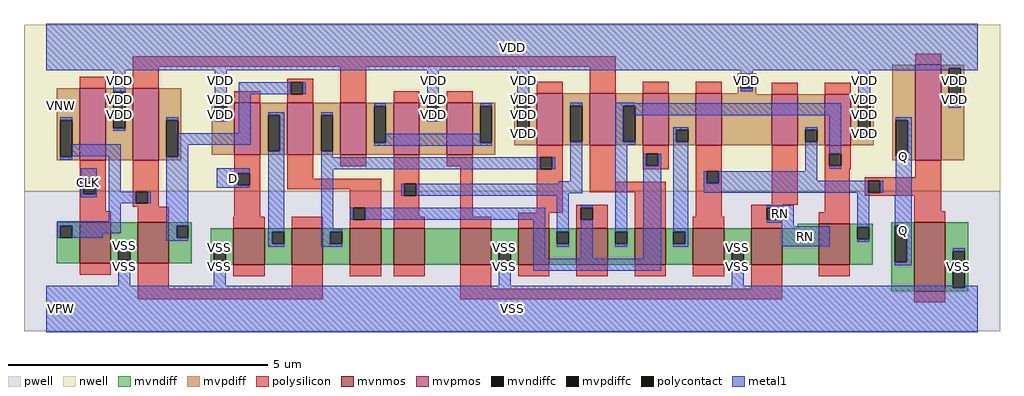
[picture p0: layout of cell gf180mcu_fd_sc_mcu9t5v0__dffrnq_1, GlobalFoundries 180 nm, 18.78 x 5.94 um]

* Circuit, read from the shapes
.subckt gf180mcu_fd_sc_mcu9t5v0__dffrnq_1 D RN CLK Q VDD VNW VPW VSS
XM1 VSS CLK n1 VPW nfet_06v0 w=0.79u l=0.6u
XM2 n2 n1 VSS VPW nfet_06v0 w=0.79u l=0.6u
XM3 n3 D VSS VPW nfet_06v0 w=0.7u l=0.6u
XM4 n4 n1 n3 VPW nfet_06v0 w=0.7u l=0.6u
XM5 n5 n2 n4 VPW nfet_06v0 w=0.7u l=0.6u
XM6 n6 n7 n5 VPW nfet_06v0 w=0.7u l=0.6u
XM7 VSS RN n6 VPW nfet_06v0 w=0.7u l=0.6u
XM8 n7 n4 VSS VPW nfet_06v0 w=0.7u l=0.6u
XM9 n8 n2 n7 VPW nfet_06v0 w=0.7u l=0.6u
XM10 n9 n1 n8 VPW nfet_06v0 w=0.7u l=0.6u
XM11 VSS n10 n9 VPW nfet_06v0 w=0.7u l=0.6u
XM12 n11 RN VSS VPW nfet_06v0 w=0.7u l=0.6u
XM13 n10 n8 n11 VPW nfet_06v0 w=0.79u l=0.6u
XM14 VSS n10 Q VPW nfet_06v0 w=1.32u l=0.6u
XM15 VDD CLK n1 VNW pfet_06v0 w=1.38u l=0.5u
XM16 n2 n1 VDD VNW pfet_06v0 w=1.38u l=0.5u
XM17 n3 D VDD VNW pfet_06v0 w=1u l=0.5u
XM18 n4 n2 n3 VNW pfet_06v0 w=1u l=0.5u
XM19 n12 n1 n4 VNW pfet_06v0 w=1u l=0.5u
XM20 VDD n7 n12 VNW pfet_06v0 w=1u l=0.5u
XM21 n12 RN VDD VNW pfet_06v0 w=1u l=0.5u
XM22 n7 n4 VDD VNW pfet_06v0 w=1u l=0.5u
XM23 n8 n1 n7 VNW pfet_06v0 w=1u l=0.5u
XM24 n9 n2 n8 VNW pfet_06v0 w=1u l=0.5u
XM25 VDD n10 n9 VNW pfet_06v0 w=1u l=0.5u
XM26 n10 RN VDD VNW pfet_06v0 w=0.98u l=0.5u
XM27 VDD n8 n10 VNW pfet_06v0 w=0.98u l=0.5u
XM28 VDD n10 Q VNW pfet_06v0 w=1.83u l=0.5u
.ends

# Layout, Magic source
magic
tech gf180mcuD
magscale 1 10
<< nwell >>
rect -86 453 3670 1094
<< pwell >>
rect -86 -86 3670 453
<< mvnmos >>
rect 128 175 248 333
rect 352 175 472 333
rect 720 170 840 310
rect 944 170 1064 310
rect 1168 170 1288 310
rect 1336 170 1456 310
rect 1592 170 1712 310
rect 1816 170 1936 310
rect 2040 170 2160 310
rect 2264 170 2384 310
rect 2488 170 2608 310
rect 2712 170 2832 310
rect 2972 170 3092 328
rect 3340 69 3460 333
<< mvpmos >>
rect 128 573 228 849
rect 332 573 432 849
rect 724 593 824 793
rect 928 593 1028 793
rect 1132 593 1232 793
rect 1336 593 1436 793
rect 1540 593 1640 793
rect 1888 630 1988 830
rect 2092 630 2192 830
rect 2296 630 2396 830
rect 2500 630 2600 830
rect 2792 630 2892 826
rect 2996 630 3096 826
rect 3344 573 3444 939
<< mvndiff >>
rect 40 320 128 333
rect 40 274 53 320
rect 99 274 128 320
rect 40 175 128 274
rect 248 234 352 333
rect 248 188 277 234
rect 323 188 352 234
rect 248 175 352 188
rect 472 320 560 333
rect 472 274 501 320
rect 547 274 560 320
rect 2892 310 2972 328
rect 472 175 560 274
rect 632 229 720 310
rect 632 183 645 229
rect 691 183 720 229
rect 632 170 720 183
rect 840 297 944 310
rect 840 251 869 297
rect 915 251 944 297
rect 840 170 944 251
rect 1064 297 1168 310
rect 1064 251 1093 297
rect 1139 251 1168 297
rect 1064 170 1168 251
rect 1288 170 1336 310
rect 1456 170 1592 310
rect 1712 229 1816 310
rect 1712 183 1741 229
rect 1787 183 1816 229
rect 1712 170 1816 183
rect 1936 297 2040 310
rect 1936 251 1965 297
rect 2011 251 2040 297
rect 1936 170 2040 251
rect 2160 297 2264 310
rect 2160 251 2189 297
rect 2235 251 2264 297
rect 2160 170 2264 251
rect 2384 297 2488 310
rect 2384 251 2413 297
rect 2459 251 2488 297
rect 2384 170 2488 251
rect 2608 229 2712 310
rect 2608 183 2637 229
rect 2683 183 2712 229
rect 2608 170 2712 183
rect 2832 170 2972 310
rect 3092 315 3180 328
rect 3092 269 3121 315
rect 3167 269 3180 315
rect 3092 170 3180 269
rect 3252 320 3340 333
rect 3252 180 3265 320
rect 3311 180 3340 320
rect 3252 69 3340 180
rect 3460 222 3548 333
rect 3460 82 3489 222
rect 3535 82 3548 222
rect 3460 69 3548 82
<< mvpdiff >>
rect 40 726 128 849
rect 40 586 53 726
rect 99 586 128 726
rect 40 573 128 586
rect 228 836 332 849
rect 228 696 257 836
rect 303 696 332 836
rect 228 573 332 696
rect 432 726 520 849
rect 2660 895 2732 908
rect 2660 849 2673 895
rect 2719 849 2732 895
rect 2660 830 2732 849
rect 1800 817 1888 830
rect 432 586 461 726
rect 507 586 520 726
rect 636 780 724 793
rect 636 734 649 780
rect 695 734 724 780
rect 636 593 724 734
rect 824 746 928 793
rect 824 606 853 746
rect 899 606 928 746
rect 824 593 928 606
rect 1028 746 1132 793
rect 1028 606 1057 746
rect 1103 606 1132 746
rect 1028 593 1132 606
rect 1232 780 1336 793
rect 1232 640 1261 780
rect 1307 640 1336 780
rect 1232 593 1336 640
rect 1436 780 1540 793
rect 1436 734 1465 780
rect 1511 734 1540 780
rect 1436 593 1540 734
rect 1640 780 1728 793
rect 1640 640 1669 780
rect 1715 640 1728 780
rect 1640 593 1728 640
rect 1800 677 1813 817
rect 1859 677 1888 817
rect 1800 630 1888 677
rect 1988 783 2092 830
rect 1988 643 2017 783
rect 2063 643 2092 783
rect 1988 630 2092 643
rect 2192 783 2296 830
rect 2192 643 2221 783
rect 2267 643 2296 783
rect 2192 630 2296 643
rect 2396 689 2500 830
rect 2396 643 2425 689
rect 2471 643 2500 689
rect 2396 630 2500 643
rect 2600 826 2732 830
rect 2600 630 2792 826
rect 2892 689 2996 826
rect 2892 643 2921 689
rect 2967 643 2996 689
rect 2892 630 2996 643
rect 3096 813 3184 826
rect 3096 673 3125 813
rect 3171 673 3184 813
rect 3096 630 3184 673
rect 3256 726 3344 939
rect 432 573 520 586
rect 3256 586 3269 726
rect 3315 586 3344 726
rect 3256 573 3344 586
rect 3444 926 3532 939
rect 3444 786 3473 926
rect 3519 786 3532 926
rect 3444 573 3532 786
<< mvndiffc >>
rect 53 274 99 320
rect 277 188 323 234
rect 501 274 547 320
rect 645 183 691 229
rect 869 251 915 297
rect 1093 251 1139 297
rect 1741 183 1787 229
rect 1965 251 2011 297
rect 2189 251 2235 297
rect 2413 251 2459 297
rect 2637 183 2683 229
rect 3121 269 3167 315
rect 3265 180 3311 320
rect 3489 82 3535 222
<< mvpdiffc >>
rect 53 586 99 726
rect 257 696 303 836
rect 2673 849 2719 895
rect 461 586 507 726
rect 649 734 695 780
rect 853 606 899 746
rect 1057 606 1103 746
rect 1261 640 1307 780
rect 1465 734 1511 780
rect 1669 640 1715 780
rect 1813 677 1859 817
rect 2017 643 2063 783
rect 2221 643 2267 783
rect 2425 643 2471 689
rect 2921 643 2967 689
rect 3125 673 3171 813
rect 3269 586 3315 726
rect 3473 786 3519 926
<< polysilicon >>
rect 332 933 2192 973
rect 3344 939 3444 983
rect 128 849 228 893
rect 332 849 432 933
rect 928 872 1028 885
rect 724 793 824 837
rect 928 826 941 872
rect 987 826 1028 872
rect 928 793 1028 826
rect 1132 793 1232 933
rect 1336 793 1436 837
rect 1540 793 1640 837
rect 1888 830 1988 874
rect 2092 830 2192 933
rect 2296 830 2396 874
rect 2500 830 2600 874
rect 2792 826 2892 870
rect 2996 826 3096 870
rect 128 487 228 573
rect 128 441 142 487
rect 188 441 228 487
rect 128 377 228 441
rect 332 452 432 573
rect 332 406 345 452
rect 391 406 432 452
rect 332 393 432 406
rect 724 523 824 593
rect 724 477 737 523
rect 783 477 824 523
rect 128 333 248 377
rect 352 333 472 393
rect 724 354 824 477
rect 928 501 1028 593
rect 1132 549 1232 593
rect 928 461 1288 501
rect 1168 389 1288 461
rect 720 310 840 354
rect 944 310 1064 354
rect 1168 343 1181 389
rect 1227 343 1288 389
rect 1168 310 1288 343
rect 1336 481 1436 593
rect 1540 549 1640 593
rect 1336 435 1377 481
rect 1423 435 1436 481
rect 1336 354 1436 435
rect 1592 354 1640 549
rect 1888 583 1988 630
rect 1888 537 1901 583
rect 1947 537 1988 583
rect 1888 370 1988 537
rect 2092 490 2192 630
rect 2296 597 2396 630
rect 2296 551 2309 597
rect 2355 551 2396 597
rect 2296 538 2396 551
rect 2500 530 2600 630
rect 2092 450 2384 490
rect 2040 389 2160 402
rect 1336 310 1456 354
rect 1592 310 1712 354
rect 1816 310 1936 370
rect 2040 343 2057 389
rect 2103 343 2160 389
rect 2040 310 2160 343
rect 2264 310 2384 450
rect 2500 484 2541 530
rect 2587 484 2600 530
rect 2500 354 2600 484
rect 2792 402 2892 630
rect 2996 597 3096 630
rect 2996 551 3013 597
rect 3059 551 3096 597
rect 2996 539 3096 551
rect 2712 389 2832 402
rect 2488 310 2608 354
rect 2712 343 2773 389
rect 2819 343 2832 389
rect 2996 372 3092 539
rect 3344 507 3444 573
rect 3150 494 3444 507
rect 3150 448 3163 494
rect 3209 448 3444 494
rect 3150 435 3444 448
rect 2712 310 2832 343
rect 2972 328 3092 372
rect 3340 377 3444 435
rect 3340 333 3460 377
rect 128 131 248 175
rect 352 78 472 175
rect 720 126 840 170
rect 944 78 1064 170
rect 1168 126 1288 170
rect 1336 126 1456 170
rect 352 38 1064 78
rect 1592 78 1712 170
rect 1816 126 1936 170
rect 2040 126 2160 170
rect 2264 126 2384 170
rect 2488 126 2608 170
rect 2712 78 2832 170
rect 2972 126 3092 170
rect 1592 38 2832 78
rect 3340 25 3460 69
<< polycontact >>
rect 941 826 987 872
rect 142 441 188 487
rect 345 406 391 452
rect 737 477 783 523
rect 1181 343 1227 389
rect 1377 435 1423 481
rect 1901 537 1947 583
rect 2309 551 2355 597
rect 2057 343 2103 389
rect 2541 484 2587 530
rect 3013 551 3059 597
rect 2773 343 2819 389
rect 3163 448 3209 494
<< metal1 >>
rect 0 926 3584 1098
rect 0 918 3473 926
rect 257 836 303 918
rect 53 726 99 737
rect 649 780 695 918
rect 257 685 303 696
rect 461 726 507 737
rect 99 588 286 634
rect 53 575 99 586
rect 132 487 194 542
rect 132 441 142 487
rect 188 441 194 487
rect 132 430 194 441
rect 240 452 286 588
rect 649 723 695 734
rect 741 826 941 872
rect 987 826 998 872
rect 741 677 787 826
rect 1261 780 1307 791
rect 507 631 787 677
rect 853 746 915 757
rect 507 586 547 631
rect 240 406 345 452
rect 391 406 402 452
rect 240 337 286 406
rect 42 320 286 337
rect 42 274 53 320
rect 99 291 286 320
rect 461 320 547 586
rect 899 606 915 746
rect 656 523 783 542
rect 656 477 737 523
rect 656 466 783 477
rect 99 274 217 291
rect 461 274 501 320
rect 461 263 547 274
rect 853 297 915 606
rect 853 251 869 297
rect 277 234 323 245
rect 853 240 915 251
rect 1057 746 1103 757
rect 1465 780 1511 918
rect 1813 817 1859 918
rect 2673 895 2719 918
rect 2673 838 2719 849
rect 1465 723 1511 734
rect 1669 780 1715 791
rect 1307 640 1669 675
rect 3125 813 3171 918
rect 1813 666 1859 677
rect 2017 783 2063 794
rect 1261 629 1715 640
rect 1057 583 1103 606
rect 1057 537 1901 583
rect 1947 537 1958 583
rect 1057 308 1104 537
rect 2017 492 2063 643
rect 1971 481 2063 492
rect 1366 435 1377 481
rect 1423 446 2063 481
rect 2189 792 2267 794
rect 2189 783 3059 792
rect 2189 643 2221 783
rect 2267 746 3059 783
rect 2189 632 2267 643
rect 2413 689 2471 700
rect 2413 643 2425 689
rect 1423 435 2011 446
rect 1170 343 1181 389
rect 1227 343 1919 389
rect 1057 297 1139 308
rect 1057 251 1093 297
rect 1057 240 1139 251
rect 277 90 323 188
rect 645 229 691 240
rect 645 90 691 183
rect 1741 229 1787 240
rect 1741 90 1787 183
rect 1873 194 1919 343
rect 1965 297 2011 435
rect 1965 240 2011 251
rect 2057 389 2103 400
rect 2057 194 2103 343
rect 2189 297 2235 632
rect 2189 240 2235 251
rect 2297 551 2309 597
rect 2355 551 2366 597
rect 2297 194 2366 551
rect 2413 297 2471 643
rect 2921 689 2967 700
rect 2921 530 2967 643
rect 3013 597 3059 746
rect 3519 918 3584 926
rect 3473 775 3519 786
rect 3125 662 3171 673
rect 3269 726 3330 737
rect 3013 540 3059 551
rect 3315 586 3330 726
rect 2530 484 2541 530
rect 2587 494 2967 530
rect 2587 484 3163 494
rect 2530 448 3163 484
rect 3209 448 3220 494
rect 2773 389 2876 400
rect 2819 343 2876 389
rect 2773 332 2876 343
rect 2459 251 2471 297
rect 2413 240 2471 251
rect 2830 318 2876 332
rect 2830 242 3014 318
rect 3121 315 3167 448
rect 3269 438 3330 586
rect 3121 258 3167 269
rect 3265 320 3330 438
rect 1873 148 2366 194
rect 2637 229 2683 240
rect 2637 90 2683 183
rect 3311 180 3330 320
rect 3265 169 3330 180
rect 3489 222 3535 233
rect 0 82 3489 90
rect 3535 82 3584 90
rect 0 -90 3584 82
<< labels >>
flabel metal1 s 132 430 194 542 0 FreeSans 200 0 0 0 CLK
port 3 nsew clock input
flabel metal1 s 656 466 783 542 0 FreeSans 200 0 0 0 D
port 1 nsew default input
flabel metal1 s 3269 438 3330 737 0 FreeSans 200 0 0 0 Q
port 4 nsew default output
flabel metal1 s 2773 332 2876 400 0 FreeSans 200 0 0 0 RN
port 2 nsew default input
flabel metal1 s 0 918 3584 1098 0 FreeSans 200 0 0 0 VDD
port 5 nsew power bidirectional abutment
flabel metal1 s 277 240 323 245 0 FreeSans 200 0 0 0 VSS
port 8 nsew ground bidirectional abutment
flabel nwell s 10 734 110 834 0 FreeSans 400 0 0 0 VNW
port 6 nsew power bidirectional
flabel pwell s 10 -50 110 50 0 FreeSans 400 0 0 0 VPW
port 7 nsew ground bidirectional
rlabel metal1 s 2830 318 2876 332 1 RN
port 2 nsew default input
rlabel metal1 s 2830 242 3014 318 1 RN
port 2 nsew default input
rlabel metal1 s 3265 169 3330 438 1 Q
port 4 nsew default output
rlabel metal1 s 3473 838 3519 918 1 VDD
port 5 nsew power bidirectional abutment
rlabel metal1 s 3125 838 3171 918 1 VDD
port 5 nsew power bidirectional abutment
rlabel metal1 s 2673 838 2719 918 1 VDD
port 5 nsew power bidirectional abutment
rlabel metal1 s 1813 838 1859 918 1 VDD
port 5 nsew power bidirectional abutment
rlabel metal1 s 1465 838 1511 918 1 VDD
port 5 nsew power bidirectional abutment
rlabel metal1 s 649 838 695 918 1 VDD
port 5 nsew power bidirectional abutment
rlabel metal1 s 257 838 303 918 1 VDD
port 5 nsew power bidirectional abutment
rlabel metal1 s 3473 775 3519 838 1 VDD
port 5 nsew power bidirectional abutment
rlabel metal1 s 3125 775 3171 838 1 VDD
port 5 nsew power bidirectional abutment
rlabel metal1 s 1813 775 1859 838 1 VDD
port 5 nsew power bidirectional abutment
rlabel metal1 s 1465 775 1511 838 1 VDD
port 5 nsew power bidirectional abutment
rlabel metal1 s 649 775 695 838 1 VDD
port 5 nsew power bidirectional abutment
rlabel metal1 s 257 775 303 838 1 VDD
port 5 nsew power bidirectional abutment
rlabel metal1 s 3125 723 3171 775 1 VDD
port 5 nsew power bidirectional abutment
rlabel metal1 s 1813 723 1859 775 1 VDD
port 5 nsew power bidirectional abutment
rlabel metal1 s 1465 723 1511 775 1 VDD
port 5 nsew power bidirectional abutment
rlabel metal1 s 649 723 695 775 1 VDD
port 5 nsew power bidirectional abutment
rlabel metal1 s 257 723 303 775 1 VDD
port 5 nsew power bidirectional abutment
rlabel metal1 s 3125 685 3171 723 1 VDD
port 5 nsew power bidirectional abutment
rlabel metal1 s 1813 685 1859 723 1 VDD
port 5 nsew power bidirectional abutment
rlabel metal1 s 257 685 303 723 1 VDD
port 5 nsew power bidirectional abutment
rlabel metal1 s 3125 666 3171 685 1 VDD
port 5 nsew power bidirectional abutment
rlabel metal1 s 1813 666 1859 685 1 VDD
port 5 nsew power bidirectional abutment
rlabel metal1 s 3125 662 3171 666 1 VDD
port 5 nsew power bidirectional abutment
rlabel metal1 s 2637 233 2683 240 1 VSS
port 8 nsew ground bidirectional abutment
rlabel metal1 s 1741 233 1787 240 1 VSS
port 8 nsew ground bidirectional abutment
rlabel metal1 s 645 233 691 240 1 VSS
port 8 nsew ground bidirectional abutment
rlabel metal1 s 277 233 323 240 1 VSS
port 8 nsew ground bidirectional abutment
rlabel metal1 s 3489 90 3535 233 1 VSS
port 8 nsew ground bidirectional abutment
rlabel metal1 s 2637 90 2683 233 1 VSS
port 8 nsew ground bidirectional abutment
rlabel metal1 s 1741 90 1787 233 1 VSS
port 8 nsew ground bidirectional abutment
rlabel metal1 s 645 90 691 233 1 VSS
port 8 nsew ground bidirectional abutment
rlabel metal1 s 277 90 323 233 1 VSS
port 8 nsew ground bidirectional abutment
rlabel metal1 s 0 -90 3584 90 1 VSS
port 8 nsew ground bidirectional abutment
<< properties >>
string FIXED_BBOX 0 0 3584 1008
string GDS_END 613628
string GDS_FILE $PDKPATH/libs.ref/gf180mcu_fd_sc_mcu9t5v0/gds/gf180mcu_fd_sc_mcu9t5v0.gds
string GDS_START 604760
string LEFclass core
string LEFsite GF018hv5v_green_sc9
string LEFsymmetry X Y
<< end >>
